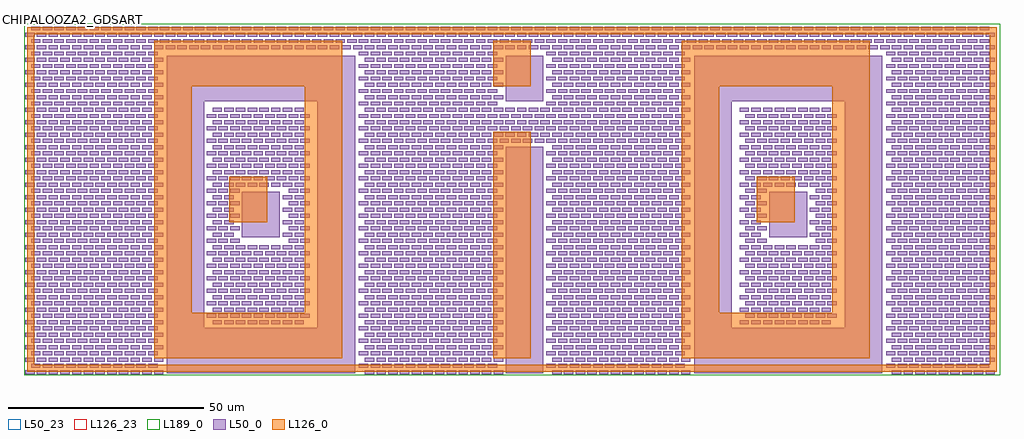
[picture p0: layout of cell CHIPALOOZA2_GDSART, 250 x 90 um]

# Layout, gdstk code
import gdstk
lib = gdstk.Library(unit=1e-6, precision=1e-09)
def R(c, l, rs):  # rectangles x0, y0, x1, y1
    for r in rs: c.add(gdstk.rectangle(r[:2], r[2:], *l))
def A(c, l, x, y, w, h, nx, ny, dx, dy):  # array of equal rectangles
    R(c, l, [(x+i*dx, y+j*dy, x+i*dx+w, y+j*dy+h) for i in range(nx) for j in range(ny)])
def P(c, l, *ps):  # polygons
    for p in ps: c.add(gdstk.Polygon(p, *l))
L50_0 = (50, 0)
L50_23 = (50, 23)
L126_0 = (126, 0)
L126_23 = (126, 23)
L189_0 = (189, 0)

chipalooza2_gdsart = lib.new_cell('CHIPALOOZA2_GDSART')
A(chipalooza2_gdsart, L50_0, 0.3, 0.3, 2.4, 1, 12, 26, 3, 3.2)
A(chipalooza2_gdsart, L50_0, 87.3, 0.3, 2.4, 1, 12, 19, 3, 3.2)
A(chipalooza2_gdsart, L50_0, 135.3, 0.3, 2.4, 1, 12, 19, 3, 3.2)
A(chipalooza2_gdsart, L50_0, 222.3, 0.3, 2.4, 1, 9, 26, 3, 3.2)
A(chipalooza2_gdsart, L50_0, 1.8, 1.9, 2.4, 1, 11, 26, 3, 3.2)
A(chipalooza2_gdsart, L50_0, 85.8, 1.9, 2.4, 1, 12, 18, 3, 3.2)
A(chipalooza2_gdsart, L50_0, 133.8, 1.9, 2.4, 1, 12, 18, 3, 3.2)
A(chipalooza2_gdsart, L50_0, 220.8, 1.9, 2.4, 1, 9, 26, 3, 3.2)
A(chipalooza2_gdsart, L50_0, 48.3, 13.1, 2.4, 1, 8, 7, 3, 3.2)
A(chipalooza2_gdsart, L50_0, 183.3, 13.1, 2.4, 1, 8, 7, 3, 3.2)
A(chipalooza2_gdsart, L50_0, 46.8, 14.7, 2.4, 1, 9, 6, 3, 3.2)
A(chipalooza2_gdsart, L50_0, 184.8, 14.7, 2.4, 1, 8, 6, 3, 3.2)
A(chipalooza2_gdsart, L50_0, 46.8, 33.9, 2.4, 1, 3, 5, 3, 3.2)
A(chipalooza2_gdsart, L50_0, 67.8, 33.9, 2.4, 1, 1, 5, 0, 3.2)
A(chipalooza2_gdsart, L50_0, 70.8, 33.9, 2.4, 1, 1, 5, 0, 3.2)
A(chipalooza2_gdsart, L50_0, 184.8, 33.9, 2.4, 1, 1, 5, 0, 3.2)
A(chipalooza2_gdsart, L50_0, 187.8, 33.9, 2.4, 1, 1, 5, 0, 3.2)
A(chipalooza2_gdsart, L50_0, 202.8, 33.9, 2.4, 1, 1, 5, 0, 3.2)
A(chipalooza2_gdsart, L50_0, 205.8, 33.9, 2.4, 1, 1, 5, 0, 3.2)
A(chipalooza2_gdsart, L50_0, 48.3, 35.5, 2.4, 1, 1, 4, 0, 3.2)
A(chipalooza2_gdsart, L50_0, 51.3, 35.5, 2.4, 1, 1, 4, 0, 3.2)
A(chipalooza2_gdsart, L50_0, 66.3, 35.5, 2.4, 1, 1, 4, 0, 3.2)
A(chipalooza2_gdsart, L50_0, 69.3, 35.5, 2.4, 1, 1, 4, 0, 3.2)
A(chipalooza2_gdsart, L50_0, 183.3, 35.5, 2.4, 1, 1, 4, 0, 3.2)
A(chipalooza2_gdsart, L50_0, 186.3, 35.5, 2.4, 1, 1, 4, 0, 3.2)
A(chipalooza2_gdsart, L50_0, 201.3, 35.5, 2.4, 1, 1, 4, 0, 3.2)
A(chipalooza2_gdsart, L50_0, 204.3, 35.5, 2.4, 1, 1, 4, 0, 3.2)
A(chipalooza2_gdsart, L50_0, 48.3, 48.3, 2.4, 1, 8, 7, 3, 3.2)
A(chipalooza2_gdsart, L50_0, 183.3, 48.3, 2.4, 1, 8, 7, 3, 3.2)
A(chipalooza2_gdsart, L50_0, 46.8, 49.9, 2.4, 1, 9, 6, 3, 3.2)
A(chipalooza2_gdsart, L50_0, 184.8, 49.9, 2.4, 1, 8, 6, 3, 3.2)
A(chipalooza2_gdsart, L50_0, 85.8, 59.5, 2.4, 1, 28, 3, 3, 3.2)
A(chipalooza2_gdsart, L50_0, 87.3, 61.1, 2.4, 1, 28, 3, 3, 3.2)
A(chipalooza2_gdsart, L50_0, 85.8, 69.1, 2.4, 1, 12, 5, 3, 3.2)
A(chipalooza2_gdsart, L50_0, 133.8, 69.1, 2.4, 1, 12, 5, 3, 3.2)
A(chipalooza2_gdsart, L50_0, 87.3, 70.7, 2.4, 1, 12, 4, 3, 3.2)
A(chipalooza2_gdsart, L50_0, 135.3, 70.7, 2.4, 1, 12, 4, 3, 3.2)
A(chipalooza2_gdsart, L50_0, 0.3, 83.5, 2.4, 1, 83, 2, 3, 3.2)
A(chipalooza2_gdsart, L50_0, 1.8, 85.1, 2.4, 1, 82, 2, 3, 3.2)
R(chipalooza2_gdsart, L50_0, [(123.39,0.495,133.04,58.545), (55.84,35.325,65.49,46.935), (190.94,35.325,200.59,46.935), (123.39,70.155,133.04,81.765)])
P(chipalooza2_gdsart, L50_0, [(36.54,0.495),(36.54,70.155),(46.19,70.155),(46.19,12.105),(75.14,12.105),(75.14,70.155),(36.54,70.155),(36.54,81.765),(84.79,81.765),(84.79,0.495)],
  [(171.64,0.495),(171.64,70.155),(181.29,70.155),(181.29,12.105),(210.24,12.105),(210.24,70.155),(171.64,70.155),(171.64,81.765),(219.89,81.765),(219.89,0.495)])
R(chipalooza2_gdsart, L50_23, [(0,0,250,90)])
R(chipalooza2_gdsart, L126_0, [(120.175,4.365,129.825,62.415), (52.625,39.195,62.275,50.805), (187.725,39.195,197.375,50.805), (120.175,74.025,129.825,85.635)])
P(chipalooza2_gdsart, L126_0, [(33.325,4.365),(33.325,74.025),(42.975,74.025),(42.975,15.975),(71.925,15.975),(71.925,74.025),(33.325,74.025),(33.325,85.635),(81.575,85.635),(81.575,4.365)],
  [(168.425,4.365),(168.425,74.025),(178.075,74.025),(178.075,15.975),(207.025,15.975),(207.025,74.025),(168.425,74.025),(168.425,85.635),(216.675,85.635),(216.675,4.365)],
  [(0.85,0.85),(0.85,87.35),(2.65,87.35),(2.65,2.65),(247.35,2.65),(247.35,87.35),(0.85,87.35),(0.85,89.15),(249.15,89.15),(249.15,0.85)])
R(chipalooza2_gdsart, L126_23, [(0,0,250,90)])
R(chipalooza2_gdsart, L189_0, [(0,0,250,90)])
chipalooza2_gdsart.add(gdstk.Label('CHIPALOOZA2_GDSART', (1,91), layer=63, texttype=0))

lib.write_gds('CHIPALOOZA2_GDSART.gds')
